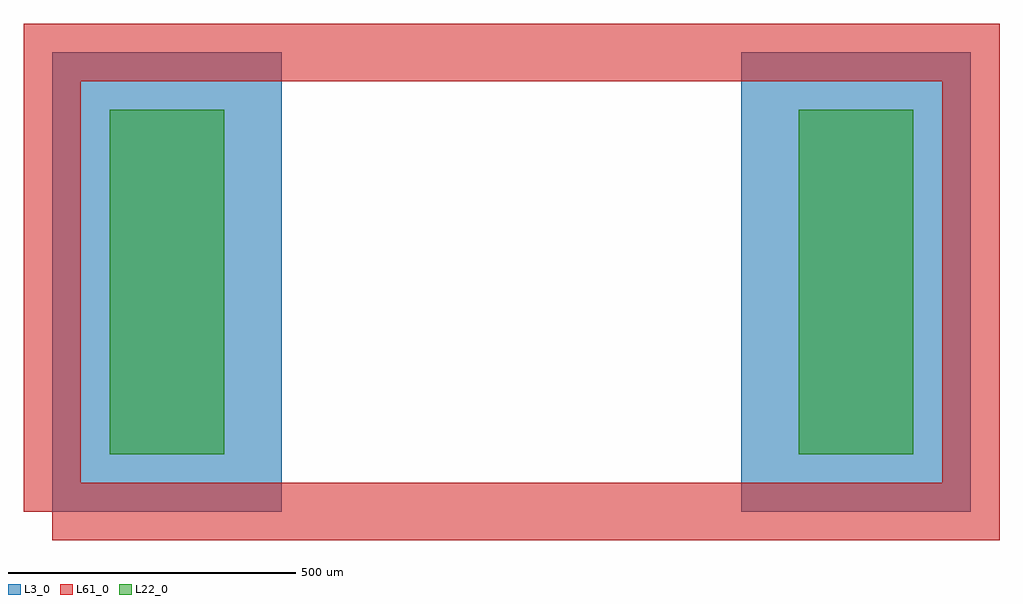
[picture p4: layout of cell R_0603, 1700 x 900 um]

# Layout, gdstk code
import gdstk
lib = gdstk.Library(unit=1e-6, precision=1e-09)
def R(c, l, rs):  # rectangles x0, y0, x1, y1
    for r in rs: c.add(gdstk.rectangle(r[:2], r[2:], *l))
L3_0 = (3, 0)
L22_0 = (22, 0)
L61_0 = (61, 0)

r_0603 = lib.new_cell('R_0603')
R(r_0603, L3_0, [(-800,-400,-400,400), (400,-400,800,400)])
R(r_0603, L22_0, [(-700,-300,-500,300), (500,-300,700,300)])
r_0603.add(gdstk.FlexPath([(-800,-400),(800,-400),(800,400),(-800,400),(-800,-400)], 100, ends="flush", simple_path=True, layer=61, datatype=0))  # L61_0

lib.write_gds('R_0603.gds')
